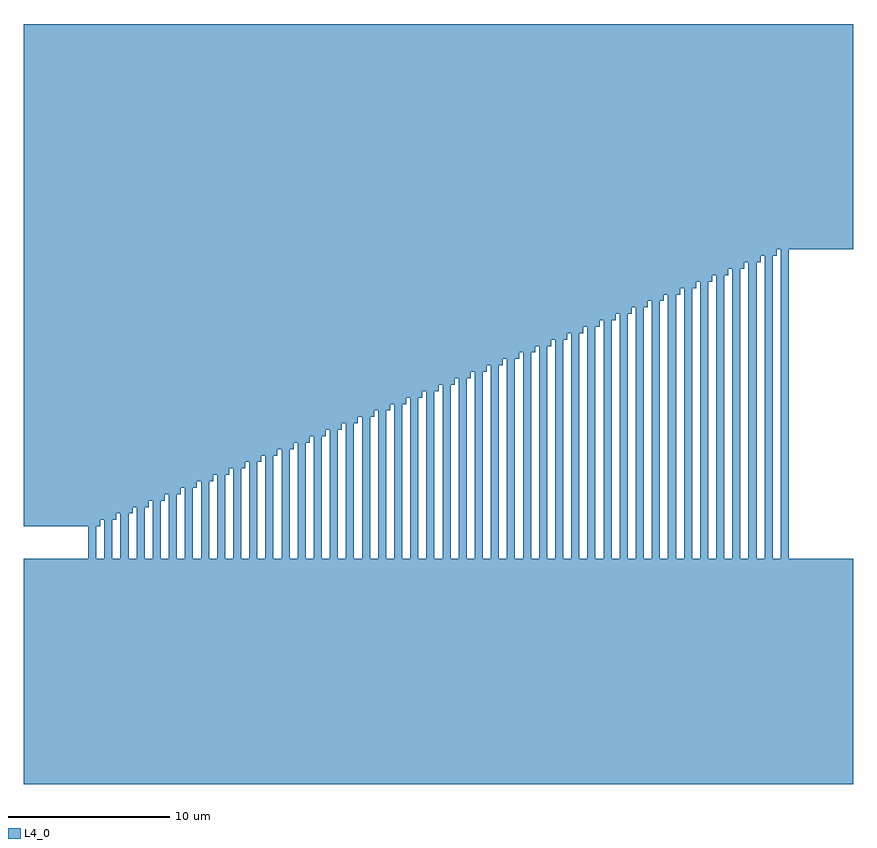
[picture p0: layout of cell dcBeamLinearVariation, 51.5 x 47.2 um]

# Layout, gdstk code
import gdstk
lib = gdstk.Library(unit=1e-6, precision=1e-09)
def R(c, l, rs):  # rectangles x0, y0, x1, y1
    for r in rs: c.add(gdstk.rectangle(r[:2], r[2:], *l))
def P(c, l, *ps):  # polygons
    for p in ps: c.add(gdstk.Polygon(p, *l))
L4_0 = (4, 0)

dcbeamlinearvariation = lib.new_cell('dcBeamLinearVariation')
R(dcbeamlinearvariation, L4_0, [(0,0,51.5,14), (4,14,4.5,16), (5,14,5.5,16.4), (6,14,6.5,16.8), (7,14,7.5,17.2), (8,14,8.5,17.6), (9,14,9.5,18), (10,14,10.5,18.4), (11,14,11.5,18.8), (12,14,12.5,19.2), (13,14,13.5,19.6), (14,14,14.5,20), (15,14,15.5,20.4), (16,14,16.5,20.8), (17,14,17.5,21.2), (18,14,18.5,21.6), (19,14,19.5,22), (20,14,20.5,22.4), (21,14,21.5,22.8), (22,14,22.5,23.2), (23,14,23.5,23.6), (24,14,24.5,24), (25,14,25.5,24.4), (26,14,26.5,24.8), (27,14,27.5,25.2), (28,14,28.5,25.6), (29,14,29.5,26), (30,14,30.5,26.4), (31,14,31.5,26.8), (32,14,32.5,27.2), (33,14,33.5,27.6), (34,14,34.5,28), (35,14,35.5,28.4), (36,14,36.5,28.8), (37,14,37.5,29.2), (38,14,38.5,29.6), (39,14,39.5,30), (40,14,40.5,30.4), (41,14,41.5,30.8), (42,14,42.5,31.2), (43,14,43.5,31.6), (44,14,44.5,32), (45,14,45.5,32.4), (46,14,46.5,32.8), (47,14,47.5,33.2)])
P(dcbeamlinearvariation, L4_0, [(0,16),(0,47.2),(51.5,47.2),(51.5,33.2),(47.75,33.2),(46.75,33.2),(46.75,32.8),(45.75,32.8),(45.75,32.4),(44.75,32.4),(44.75,32),(43.75,32),(43.75,31.6),(42.75,31.6),(42.75,31.2),(41.75,31.2),(41.75,30.8),(40.75,30.8),(40.75,30.4),(39.75,30.4),(39.75,30),(38.75,30),(38.75,29.6),(37.75,29.6),(37.75,29.2),(36.75,29.2),(36.75,28.8),(35.75,28.8),(35.75,28.4),(34.75,28.4),(34.75,28),(33.75,28),(33.75,27.6),(32.75,27.6),(32.75,27.2),(31.75,27.2),(31.75,26.8),(30.75,26.8),(30.75,26.4),(29.75,26.4),(29.75,26),(28.75,26),(28.75,25.6),(27.75,25.6),(27.75,25.2),(26.75,25.2),(26.75,24.8),(25.75,24.8),(25.75,24.4),(24.75,24.4),(24.75,24),(23.75,24),(23.75,23.6),(22.75,23.6),(22.75,23.2),(21.75,23.2),(21.75,22.8),(20.75,22.8),(20.75,22.4),(19.75,22.4),(19.75,22),(18.75,22),(18.75,21.6),(17.75,21.6),(17.75,21.2),(16.75,21.2),(16.75,20.8),(15.75,20.8),(15.75,20.4),(14.75,20.4),(14.75,20),(13.75,20),(13.75,19.6),(12.75,19.6),(12.75,19.2),(11.75,19.2),(11.75,18.8),(10.75,18.8),(10.75,18.4),(9.75,18.4),(9.75,18),(8.75,18),(8.75,17.6),(7.75,17.6),(7.75,17.2),(6.75,17.2),(6.75,16.8),(5.75,16.8),(5.75,16.4),(4.75,16.4),(4.75,16)])

lib.write_gds('dcBeamLinearVariation.gds')
